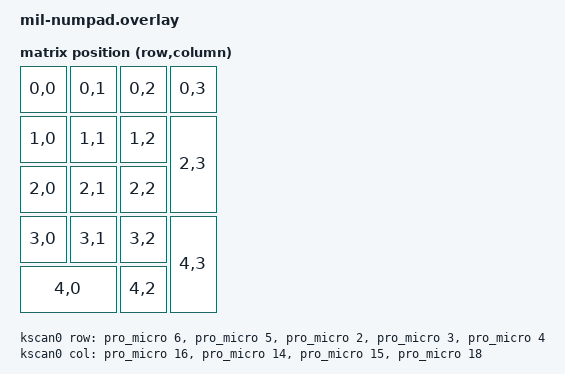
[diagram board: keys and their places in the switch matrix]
#include <dt-bindings/zmk/matrix_transform.h>
#include <physical_layouts.dtsi>

/ {
    chosen {
        zmk,kscan = &kscan0;
        zmk,physical-layout = &physical_layout0;
    };

    /*
     * Fysisk layout för ZMK Studio. Värdena är i centiunit (100 = 1u).
     * Studio använder detta för att rita keyboardet visuellt i webbläsaren.
     *
     *   w  = bredd        h  = höjd
     *   x  = horisontell  y  = vertikal position
     *   r  = rotation (centidegrees, 0 = ingen rotation)
     *   rx, ry = rotation center
     */
    physical_layout0: physical_layout_0 {
        compatible = "zmk,physical-layout";
        display-name = "Mil Numpad";
        kscan = <&kscan0>;
        transform = <&default_transform>;
        keys                              //  w   h    x    y   r  rx  ry
            = <&key_physical_attrs 100 100   0   0   0   0   0>  // NumLock
            , <&key_physical_attrs 100 100 100   0   0   0   0>  // /
            , <&key_physical_attrs 100 100 200   0   0   0   0>  // *
            , <&key_physical_attrs 100 100 300   0   0   0   0>  // -
            , <&key_physical_attrs 100 100   0 100   0   0   0>  // 7
            , <&key_physical_attrs 100 100 100 100   0   0   0>  // 8
            , <&key_physical_attrs 100 100 200 100   0   0   0>  // 9
            , <&key_physical_attrs 100 200 300 100   0   0   0>  // + (2u tall)
            , <&key_physical_attrs 100 100   0 200   0   0   0>  // 4
            , <&key_physical_attrs 100 100 100 200   0   0   0>  // 5
            , <&key_physical_attrs 100 100 200 200   0   0   0>  // 6
            , <&key_physical_attrs 100 100   0 300   0   0   0>  // 1
            , <&key_physical_attrs 100 100 100 300   0   0   0>  // 2
            , <&key_physical_attrs 100 100 200 300   0   0   0>  // 3
            , <&key_physical_attrs 100 200 300 300   0   0   0>  // Enter (2u tall)
            , <&key_physical_attrs 200 100   0 400   0   0   0>  // 0 (2u wide)
            , <&key_physical_attrs 100 100 200 400   0   0   0>  // .
            ;
    };

    /*
     * MATRIS-IDÉ (matchar din ritning):
     *   "Matrisrad" = de RÖDA horisontella diod-katod-trådarna.
     *                 5 st  -> R0..R4.
     *   "Matriskolumn" = de SVARTA vertikala icke-diod-trådarna.
     *                    4 st -> C0..C3.
     *
     *           C0        C1        C2        C3
     *   R0:  NumLock     /          *         -      <- röd #1 (toppen)
     *   R1:  7           8          9         —      <- röd #2
     *   R2:  4           5          6         +      <- röd #3 (böjer upp till +)
     *   R3:  1           2          3         —      <- röd #4
     *   R4:  0           —          .         Enter  <- röd #5 (böjer upp till Enter)
     *
     *   '—' = ingen switch (täcks av 2u-tangent eller mellanrum).
     *   + sitter i NEDRE halvan av sin 2u-keycap (-> hamnar på R2).
     *   Enter sitter i NEDRE halvan (-> hamnar på R4).
     *   0 sitter i VÄNSTRA halvan av sin 2u-keycap (-> hamnar på C0).
     */
    default_transform: keymap_transform_0 {
        compatible = "zmk,matrix-transform";
        rows = <5>;
        columns = <4>;
        map = <
            RC(0,0) RC(0,1) RC(0,2) RC(0,3)
            RC(1,0) RC(1,1) RC(1,2) RC(2,3)
            RC(2,0) RC(2,1) RC(2,2)
            RC(3,0) RC(3,1) RC(3,2) RC(4,3)
            RC(4,0)         RC(4,2)
        >;
    };

    kscan0: kscan {
        compatible = "zmk,kscan-gpio-matrix";
        /*
         * row2col: diodernas KATOD (svart streck) pekar mot KOLUMNEN.
         * Strömmen flödar rad -> anod -> katod -> switch -> kolumn.
         * Rader är OUTPUT, kolumner är INPUT med pull-down.
         */
        diode-direction = "row2col";
        wakeup-source;

        /*
         * RADER = de RÖDA diod-anod-trådarna (horisontella). OUTPUT.
         * R0 = röd #1 (NumLock, /, *, -)   -> silk 100 (P1.00)  = pro_micro 6
         * R1 = röd #2 (7, 8, 9)             -> silk 024 (P0.24)  = pro_micro 5
         * R2 = röd #3 (4, 5, 6, +)          -> silk 017 (P0.17)  = pro_micro 2
         * R3 = röd #4 (1, 2, 3)             -> silk 020 (P0.20)  = pro_micro 3
         * R4 = röd #5 (0, ., Enter)         -> silk 022 (P0.22)  = pro_micro 4
         */
        row-gpios
            = <&pro_micro 6 GPIO_ACTIVE_HIGH>
            , <&pro_micro 5 GPIO_ACTIVE_HIGH>
            , <&pro_micro 2 GPIO_ACTIVE_HIGH>
            , <&pro_micro 3 GPIO_ACTIVE_HIGH>
            , <&pro_micro 4 GPIO_ACTIVE_HIGH>
            ;

        /*
         * KOLUMNER = de SVARTA icke-diod-trådarna (vertikala). INPUT (pull-down).
         * C0 = svart #1 (NumLock, 7, 4, 1, 0)   -> silk 010 (P0.10)  = pro_micro 16
         * C1 = svart #2 (/, 8, 5, 2)            -> silk 111 (P1.11)  = pro_micro 14
         * C2 = svart #3 (*, 9, 6, 3, .)         -> silk 113 (P1.13)  = pro_micro 15
         * C3 = svart #4 (-, +, Enter)           -> silk 115 (P1.15)  = pro_micro 18
         */
        col-gpios
            = <&pro_micro 16 (GPIO_ACTIVE_HIGH | GPIO_PULL_DOWN)>
            , <&pro_micro 14 (GPIO_ACTIVE_HIGH | GPIO_PULL_DOWN)>
            , <&pro_micro 15 (GPIO_ACTIVE_HIGH | GPIO_PULL_DOWN)>
            , <&pro_micro 18 (GPIO_ACTIVE_HIGH | GPIO_PULL_DOWN)>
            ;
    };
};
